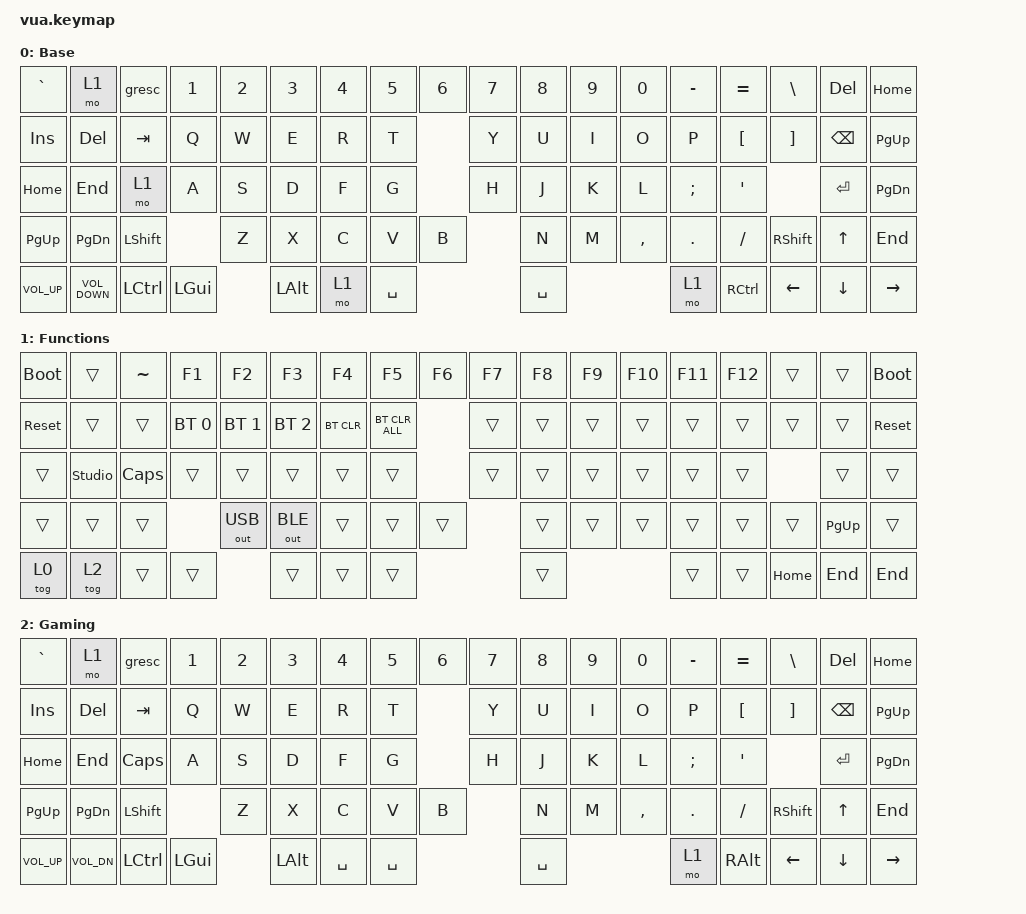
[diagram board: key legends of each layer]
/*
*
* Copyright (c) 2023 Deemen17
* SPDX-License-Identifier: MIT
*
*/

#include <behaviors.dtsi>
#include <dt-bindings/zmk/bt.h>
#include <dt-bindings/zmk/keys.h>
#include <dt-bindings/zmk/outputs.h>

/ {
    behaviors {
        EscTilde: EscTilde {
            compatible = "zmk,behavior-mod-morph";
            bindings = <&kp ESC>, <&kp TILDE>;

            #binding-cells = <0>;
            mods = <(MOD_LSFT|MOD_RSFT)>;
        };
    };

    keymap {
        compatible = "zmk,keymap";

        default_layer {
            display-name = "Base";
            bindings = <
&kp GRAVE     &mo 1              &gresc     &kp N1    &kp N2  &kp N3    &kp N4  &kp N5     &kp N6  &kp N7  &kp N8     &kp N9  &kp N0     &kp MINUS      &kp EQUAL  &kp BACKSLASH  &kp DELETE     &kp HOME
&kp INSERT    &kp DELETE         &kp TAB    &kp Q     &kp W   &kp E     &kp R   &kp T              &kp Y   &kp U      &kp I   &kp O      &kp P          &kp LBKT   &kp RBKT       &kp BACKSPACE  &kp PAGE_UP
&kp HOME      &kp END            &mo 1      &kp A     &kp S   &kp D     &kp F   &kp G              &kp H   &kp J      &kp K   &kp L      &kp SEMICOLON  &kp SQT                   &kp RET        &kp PAGE_DOWN
&kp PAGE_UP   &kp PAGE_DOWN      &kp LSHFT            &kp Z   &kp X     &kp C   &kp V      &kp B           &kp N      &kp M   &kp COMMA  &kp DOT        &kp SLASH  &kp RSHFT      &kp UP         &kp END
&kp C_VOL_UP  &kp C_VOLUME_DOWN  &kp LCTRL  &kp LGUI          &kp LALT  &mo 1   &kp SPACE                  &kp SPACE                     &mo 1          &kp RCTRL  &kp LEFT       &kp DOWN       &kp RIGHT
            >;
        };

        function_layer {
            display-name = "Functions";

            /*
             * &studio_unlock sits on the second macro key of the home row (M6).
             * ZMK Studio connects read-only until it is pressed; without an
             * unlock key the keymap can be viewed but never edited. It re-locks
             * after 10 minutes idle and whenever Studio disconnects.
             *
             * Only the left half builds with ZMK Studio, so on the right half
             * and in the settings_reset images this binding does nothing.
             *
             * Z and X pin the HID output to USB and to BLE, and the choice is
             * stored in settings. That is what makes a BLE-only fault
             * debuggable: pick BLE, then stay plugged into USB for the
             * zmk-usb-logging console while the keyboard actually runs over the
             * radio. USB still supplies power, so this will not reproduce
             * anything that depends on the battery supply.
             */
            bindings = <
&bootloader  &trans  &kp TILDE  &kp F1    &kp F2    &kp F3     &kp F4  &kp F5  &kp F6  &kp F7  &kp F8  &kp F9  &kp F10  &kp F11  &kp F12  &trans    &trans       &bootloader
&sys_reset   &trans  &trans     &bt BT_SEL 0  &bt BT_SEL 1  &bt BT_SEL 2  &bt BT_CLR  &bt BT_CLR_ALL  &trans  &trans  &trans  &trans   &trans   &trans   &trans    &trans       &sys_reset
&trans       &studio_unlock  &kp CAPS   &trans    &trans    &trans     &trans  &trans          &trans  &trans  &trans  &trans   &trans   &trans             &trans       &trans
&trans       &trans  &trans               &out OUT_USB  &out OUT_BLE  &trans  &trans  &trans          &trans  &trans  &trans   &trans   &trans   &trans    &kp PAGE_UP  &trans
&tog 0       &tog 2  &trans     &trans              &trans     &trans  &trans                  &trans                   &trans   &trans   &kp HOME  &kp END      &kp END
            >;
        };

        gaming_layer {
            display-name = "Gaming";

            bindings = <
&kp GRAVE        &mo 1          &gresc     &kp N1        &kp N2  &kp N3        &kp N4     &kp N5     &kp N6  &kp N7  &kp N8     &kp N9  &kp N0     &kp MINUS  &kp EQUAL      &kp BSLH        &kp DELETE      &kp HOME
&kp INSERT       &kp DEL        &kp TAB    &kp Q         &kp W   &kp E         &kp R      &kp T              &kp Y   &kp U      &kp I   &kp O      &kp P      &kp LBKT       &kp RBKT        &kp BSPC        &kp PAGE_UP
&kp HOME         &kp END        &kp CAPS   &kp A         &kp S   &kp D         &kp F      &kp G              &kp H   &kp J      &kp K   &kp L      &kp SEMI   &kp APOS                       &kp ENTER       &kp PAGE_DOWN
&kp PAGE_UP      &kp PAGE_DOWN  &kp LSHFT                &kp Z   &kp X         &kp C      &kp V      &kp B           &kp N      &kp M   &kp COMMA  &kp DOT    &kp FSLH       &kp RSHFT       &kp UP_ARROW    &kp END
&kp C_VOLUME_UP  &kp C_VOL_DN   &kp LCTRL  &kp LEFT_GUI          &kp LEFT_ALT  &kp SPACE  &kp SPACE                  &kp SPACE                     &mo 1      &kp RIGHT_ALT  &kp LEFT_ARROW  &kp DOWN_ARROW  &kp RIGHT
            >;
        };
    };
};
